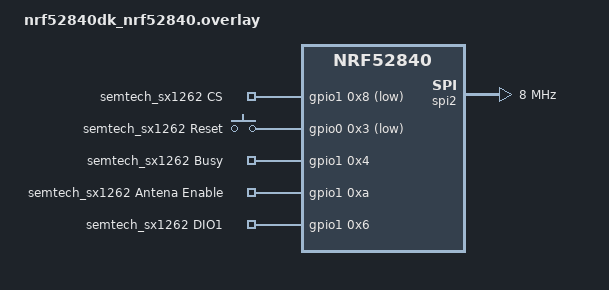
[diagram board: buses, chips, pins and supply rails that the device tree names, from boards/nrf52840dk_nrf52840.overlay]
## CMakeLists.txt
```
#
# Copyright (c) 2023 Nordic Semiconductor ASA
#
# SPDX-License-Identifier: LicenseRef-Nordic-5-Clause
#

cmake_minimum_required(VERSION 3.20.0)

include(../common/bootloader_version.cmake)

set(hci_rpmsg_KCONFIG_ROOT ${CMAKE_CURRENT_SOURCE_DIR}/child_image/hci_rpmsg/Kconfig.root)
set(mcuboot_KCONFIG_ROOT ${CMAKE_CURRENT_SOURCE_DIR}/child_image/mcuboot/Kconfig.root)

if(CONF_FILE)
    get_filename_component(CONFIG_FILE_NAME ${CONF_FILE} NAME)
endif()

if("${CONFIG_FILE_NAME}" STREQUAL "prj_no_dfu.conf")
    set(PM_STATIC_YML_FILE ${CMAKE_CURRENT_SOURCE_DIR}/configuration/pm_static_no_dfu.yml)
else()
    set(PM_STATIC_YML_FILE ${CMAKE_CURRENT_SOURCE_DIR}/configuration/${BOARD}/pm_static_dfu.yml)
endif()

find_package(Zephyr REQUIRED HINTS $ENV{ZEPHYR_BASE})
project(sidewalk_template)

target_include_directories(app PRIVATE 
    include
    ../common/include
)
target_sources(app PRIVATE
    src/main.c
    src/sidewalk.c
)
```

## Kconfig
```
#
# Copyright (c) 2022 Nordic Semiconductor ASA
#
# SPDX-License-Identifier: LicenseRef-Nordic-5-Clause
#

mainmenu "Sidewalk nRF Connect Application"

choice TEMPLATE_APP
	prompt "Select template application to run"
    default TEMPLATE_APP_HELLO
config TEMPLATE_APP_HELLO
    bool "Sidewalk hello world application"
config TEMPLATE_APP_SENSOR_MONITORING
    bool "Demo sensor monitoring application"
    imply SIDEWALK_DEMO_PARSER
    imply SENSOR
	imply TEMP_NRF5
endchoice #TEMPLATE_APP

if TEMPLATE_APP_HELLO

config TEMPLATE_APP_ECHO_MSGS
    bool "Eable message echo feature"
    default y
    help
      Echo received messages back to Sidewlak cloud.
      Works with GET and SET messages types.

endif #TEMPLATE_APP_HELLO

if TEMPLATE_APP_SENSOR_MONITORING

rsource "Kconfig.sensor_monitoring"

endif #TEMPLATE_APP_SENSOR_MONITORING

config TEMPLATE_APP_CLI
    bool "Enable Sidewalk CLI (DUT)"
    imply SHELL
    help
      Enables Sidewalk command line interface.
      The interface commands are compatilbe with former dut sample.

config SIDEWALK_AUTO_START
    default y
    bool "Enable automatic Sidewalk initlization and start"

config SIDEWALK_AUTO_CONN_REQ
    default y
    bool "Enable automatic connection request before message send"

config SIDEWALK_PERSISTENT_LINK_MASK
	select EXPERIMENTAL
    bool "Enable persitent link mask"
    help
      The Sidewalk link mask persists after a device reset
      but defaults after a factory reset.
      This could affect the flash lifespan.

config TEMPLATE_APP_EVENT_HEAP_SIZE
    int "Heap for Sidewalk event contexts"
    default 2048

rsource "Kconfig.defconfig"

source "Kconfig.zephyr"
```

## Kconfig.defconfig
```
#
# Copyright (c) 2022 Nordic Semiconductor ASA
#
# SPDX-License-Identifier: LicenseRef-Nordic-5-Clause
#

# Bluetooth
config BT_REMOTE_VERSION
	default y

config BT_BUF_ACL_TX_SIZE
	default 251
	default 502 if SIDEWALK_DFU_BLE_FAST

config BT_BUF_ACL_TX_COUNT
	default 3

config BT_BUF_ACL_RX_SIZE
	default 251
	default 502 if SIDEWALK_DFU_BLE_FAST

config BT_BUF_ACL_RX_COUNT
	default 6

config BT_L2CAP_TX_MTU
	default 247
	default 498 if SIDEWALK_DFU_BLE_FAST

config BT_CTLR_DATA_LENGTH_MAX
	default 247
	default 251 if SIDEWALK_DFU_BLE_FAST

config BT_PERIPHERAL_PREF_MIN_INT
	default 16

config BT_PERIPHERAL_PREF_MAX_INT
	default 60

config BT_PERIPHERAL_PREF_LATENCY
	default 0

config BT_PERIPHERAL_PREF_TIMEOUT
	default 400

# NVM
config NVS_LOOKUP_CACHE
	default y

config NVS_LOOKUP_CACHE_SIZE
	default 1024

# Stack and Heap
config SYSTEM_WORKQUEUE_STACK_SIZE
	default 4096

config LOG_PROCESS_THREAD_STARTUP_DELAY_MS
	default 50 if SHELL

config SHELL_STACK_SIZE
	default 8192 if TEMPLATE_APP_CLI

config HEAP_MEM_POOL_SIZE
	default 8192 if SIDEWALK_ON_DEV_CERT
	default 1024

config SPI_NRFX_RAM_BUFFER_SIZE
	default 0

# CLI
if TEMPLATE_APP_CLI

config SHELL_CMD_BUFF_SIZE
	default 1024

config SHELL_BACKEND_SERIAL_TX_RING_BUFFER_SIZE
	default 128

config SHELL_BACKEND_SERIAL_RX_RING_BUFFER_SIZE
	default 1024

endif # TEMPLATE_APP_CLI

# Others
config SPIN_VALIDATE
    default n

config PARTITION_MANAGER_ENABLED
	default y
```

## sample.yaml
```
sample:
  name: Sidewalk template sample
  description: Sample implementing Amazon Sidewalk End Device
tests:
  sample.sidewalk.template:
    build_only: true
    platform_allow: nrf52840dk_nrf52840 nrf5340dk_nrf5340_cpuapp
    extra_args: CONFIG_SIDEWALK_PERSISTENT_LINK_MASK=y
    integration_platforms:
      - nrf52840dk_nrf52840
      - nrf5340dk_nrf5340_cpuapp
    tags: Sidewalk

  sample.sidewalk.template.release:
    build_only: true
    platform_allow: nrf52840dk_nrf52840 nrf5340dk_nrf5340_cpuapp
    extra_args:
      CONF_FILE=prj_release.conf
      CONFIG_SIDEWALK_PERSISTENT_LINK_MASK=y
    integration_platforms:
      - nrf52840dk_nrf52840
      - nrf5340dk_nrf5340_cpuapp
    tags: Sidewalk

  sample.sidewalk.template.no_dfu:
    build_only: true
    platform_allow: nrf52840dk_nrf52840 nrf5340dk_nrf5340_cpuapp
    extra_args:
      CONF_FILE=prj_no_dfu.conf
      CONFIG_SIDEWALK_PERSISTENT_LINK_MASK=y
    integration_platforms:
      - nrf52840dk_nrf52840
      - nrf5340dk_nrf5340_cpuapp
    tags: Sidewalk

  sample.sidewalk.template.ble_only:
    build_only: true
    platform_allow: nrf52840dk_nrf52840 nrf5340dk_nrf5340_cpuapp
    extra_args: CONFIG_SIDEWALK_SUBGHZ_SUPPORT=n
    integration_platforms:
      - nrf52840dk_nrf52840
      - nrf5340dk_nrf5340_cpuapp
    tags: Sidewalk BLE

  sample.sidewalk.template.ble_only.release:
    build_only: true
    platform_allow: nrf52840dk_nrf52840 nrf5340dk_nrf5340_cpuapp
    extra_args:
      CONF_FILE=prj_release.conf
      CONFIG_SIDEWALK_SUBGHZ_SUPPORT=n
    integration_platforms:
      - nrf52840dk_nrf52840
      - nrf5340dk_nrf5340_cpuapp
    tags: Sidewalk BLE

  sample.sidewalk.demo:
    build_only: true
    platform_allow: nrf52840dk_nrf52840 nrf5340dk_nrf5340_cpuapp
    extra_args:
      CONFIG_TEMPLATE_APP_SENSOR_MONITORING=y
      CONFIG_SIDEWALK_PERSISTENT_LINK_MASK=y
    integration_platforms:
      - nrf52840dk_nrf52840
      - nrf5340dk_nrf5340_cpuapp
    tags: Sidewalk BLE

  sample.sidewalk.demo.ble_only:
    build_only: true
    platform_allow: nrf52840dk_nrf52840 nrf5340dk_nrf5340_cpuapp thingy53_nrf5340_cpuapp
    extra_args:
      CONFIG_TEMPLATE_APP_SENSOR_MONITORING=y
      CONFIG_SIDEWALK_SUBGHZ_SUPPORT=n
    integration_platforms:
      - nrf52840dk_nrf52840
      - nrf5340dk_nrf5340_cpuapp
    tags: Sidewalk BLE

  sidewalk.sid_dut:
    build_only: true
    platform_allow: nrf52840dk_nrf52840 nrf5340dk_nrf5340_cpuapp
    extra_args:
        OVERLAY_CONFIG="overlay-dut.conf"
    integration_platforms:
      - nrf52840dk_nrf52840
      - nrf5340dk_nrf5340_cpuapp
    tags: Sidewalk
```

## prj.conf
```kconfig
#
# Copyright (c) 2023 Nordic Semiconductor ASA
#
# SPDX-License-Identifier: LicenseRef-Nordic-5-Clause
#

# Sidewalk
CONFIG_SIDEWALK=y
CONFIG_SMF=y
CONFIG_SMF_ANCESTOR_SUPPORT=y

# Log
CONFIG_LOG=y
CONFIG_LOG_PRINTK=y
CONFIG_LOG_BUFFER_SIZE=2048
CONFIG_NVS_LOG_LEVEL_WRN=y

# Bluetooth
CONFIG_BT_DEVICE_NAME="Nordic"

# Debug
CONFIG_RESET_ON_FATAL_ERROR=n
```

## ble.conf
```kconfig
#
# Copyright (c) 2022 Nordic Semiconductor ASA
#
# SPDX-License-Identifier: LicenseRef-Nordic-4-Clause
#

CONFIG_SIDEWALK_LINK_MASK_BLE=y
CONFIG_SIDEWALK_GPIO=n
CONFIG_SIDEWALK_SPI_BUS=n
CONFIG_SIDEWALK_TEMPERATURE=n
```

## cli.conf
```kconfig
CONFIG_SIDEWALK_CLI=y
# CONFIG_SHELL_STACK_SIZE=8192
```

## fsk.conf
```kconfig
#
# Copyright (c) 2022 Nordic Semiconductor ASA
#
# SPDX-License-Identifier: LicenseRef-Nordic-4-Clause
#

CONFIG_SIDEWALK_LINK_MASK_FSK=y

CONFIG_HW_CC3XX=y
CONFIG_PSA_CRYPTO_DRIVER_CC3XX=y
CONFIG_PSA_CRYPTO_DRIVER_OBERON=n

CONFIG_SPIN_VALIDATE=n
```

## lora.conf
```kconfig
#
# Copyright (c) 2022 Nordic Semiconductor ASA
#
# SPDX-License-Identifier: LicenseRef-Nordic-4-Clause
#

CONFIG_SIDEWALK_LINK_MASK_LORA=y
CONFIG_SIDEWALK_GPIO=y
CONFIG_SIDEWALK_SPI_BUS=y
CONFIG_SIDEWALK_TEMPERATURE=y
```

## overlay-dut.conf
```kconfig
#
# Copyright (c) 2023 Nordic Semiconductor ASA
#
# SPDX-License-Identifier: LicenseRef-Nordic-5-Clause
#

CONFIG_TEMPLATE_APP_CLI=y
CONFIG_SIDEWALK_ON_DEV_CERT=y

CONFIG_SIDEWALK_BLE_ADAPTER_LOG_LEVEL_DBG=y

CONFIG_SIDEWALK_AUTO_START=n
CONFIG_SIDEWALK_AUTO_CONN_REQ=n
CONFIG_TEMPLATE_APP_ECHO_MSGS=n
```

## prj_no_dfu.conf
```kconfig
#
# Copyright (c) 2023 Nordic Semiconductor ASA
#
# SPDX-License-Identifier: LicenseRef-Nordic-5-Clause
#

# Sidewalk
CONFIG_SIDEWALK=y
CONFIG_SIDEWALK_DFU=n
CONFIG_SMF=y
CONFIG_SMF_ANCESTOR_SUPPORT=y

# Log
CONFIG_LOG=y
CONFIG_LOG_PRINTK=y
CONFIG_LOG_BUFFER_SIZE=2048
CONFIG_NVS_LOG_LEVEL_WRN=y

# Bluetooth
CONFIG_BT_DEVICE_NAME="Nordic"

# Use HW crypto
CONFIG_HW_CC3XX=y
CONFIG_PSA_CRYPTO_DRIVER_CC3XX=y
CONFIG_MBEDTLS_HEAP_SIZE=1024

CONFIG_NVS_LOOKUP_CACHE=y
CONFIG_NVS_LOOKUP_CACHE_SIZE=1024

CONFIG_SPIN_VALIDATE=n

# Debug
CONFIG_RESET_ON_FATAL_ERROR=n
```

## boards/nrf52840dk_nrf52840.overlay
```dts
/*
 * Copyright (c) 2023 Nordic Semiconductor ASA
 *
 * SPDX-License-Identifier: LicenseRef-Nordic-5-Clause
 */

&spi3 {
	status = "disabled";
};

sid_semtech: &spi2 {
	compatible = "nordic,nrf-spim";
	status = "okay";
	pinctrl-0 = <&spi2_default>;
	pinctrl-1 = <&spi2_sleep>;
	pinctrl-names = "default", "sleep";
	clock-frequency = <DT_FREQ_M(8)>;
};

/{
	semtech_sx1262_gpios{
		compatible = "gpio-keys";
		semtech_sx1262_cs: cs {
			gpios = <&gpio1 0x8 GPIO_ACTIVE_LOW>;
			label = "semtech_sx1262 CS";
		};
		semtech_sx1262_reset_gpios: reset {
			gpios = <&gpio0 0x3 GPIO_ACTIVE_LOW>;
			label = "semtech_sx1262 Reset";
		};
		semtech_sx1262_busy_gpios: busy {
			gpios = <&gpio1 0x4 GPIO_ACTIVE_HIGH>;
			label = "semtech_sx1262 Busy";
		};
		semtech_sx1262_antenna_enable_gpios: antena_enable {
			gpios = <&gpio1 0xa GPIO_ACTIVE_HIGH>;
			label = "semtech_sx1262 Antena Enable";
		};
		semtech_sx1262_dio1_gpios: dio1 {
			gpios = <&gpio1 0x6 GPIO_ACTIVE_HIGH>;
			label = "semtech_sx1262 DIO1";
		};
	};

	chosen {
		nordic,pm-ext-flash = &mx25r64;
	};
};

&spi2_default {
	group1 {
		psels = <NRF_PSEL(SPIM_SCK, 1, 15)>,
		        <NRF_PSEL(SPIM_MISO, 1, 14)>,
		        <NRF_PSEL(SPIM_MOSI, 1, 13)>;
	};
};

&spi2_sleep {
	group1 {
		psels = <NRF_PSEL(SPIM_SCK, 1, 15)>,
		        <NRF_PSEL(SPIM_MISO, 1, 14)>,
		        <NRF_PSEL(SPIM_MOSI, 1, 13)>;
		low-power-enable;
	};
};
```

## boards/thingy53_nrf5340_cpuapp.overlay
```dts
/*
 * Copyright (c) 2023 Nordic Semiconductor ASA
 *
 * SPDX-License-Identifier: LicenseRef-Nordic-5-Clause
 */

#include <zephyr/dt-bindings/ipc_service/static_vrings.h>

&ipc0 {
	zephyr,priority = <0 PRIO_COOP>;
};

&i2c1 {
	status = "okay";

	bme688@76 {
		compatible = "bosch,bme680";
		reg = <0x76>;
		status = "okay";
	};
};

/{
	chosen {
		nordic,pm-ext-flash = &mx25r64;
	};
};
```

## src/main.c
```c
/*
 * Copyright (c) 2023 Nordic Semiconductor ASA
 *
 * SPDX-License-Identifier: LicenseRef-Nordic-5-Clause
 */

#include <sidewalk.h>
#include <app_ble_config.h>
#if !defined(CONFIG_APP_BLE_ONLY)
#include <app_subGHz_config.h>
#endif
#include <sid_hal_reset_ifc.h>
#include <sidewalk_version.h>
#if defined(CONFIG_GPIO)
#include <state_notifier_gpio_backend.h>
#endif
#if defined(CONFIG_LOG)
#include <state_notifier_log_backend.h>
#endif
#if defined(CONFIG_APP_PERSISTENT_LINK_MASK)
#include <settings_utils.h>
#endif
#include <buttons.h>
#include <zephyr/kernel.h>
#include <zephyr/smf.h>
#include <zephyr/logging/log.h>

LOG_MODULE_REGISTER(app, CONFIG_SIDEWALK_LOG_LEVEL);

static uint8_t echo_payload[255];
static uint32_t persistent_link_mask;

static void on_sidewalk_event(bool in_isr, void *context)
{
	int err = sidewalk_event_send(SID_EVENT_SIDEWALK);
	if (err) {
		LOG_ERR("send event err %d", err);
	};
}

static void on_sidewalk_msg_received(const struct sid_msg_desc *msg_desc, const struct sid_msg *msg,
				     void *context)
{
	LOG_DBG("received message(type: %d, link_mode: %d, id: %u size %u)", (int)msg_desc->type,
		(int)msg_desc->link_mode, msg_desc->id, msg->size);
	LOG_HEXDUMP_INF((uint8_t *)msg->data, msg->size, "Message data: ");

	if (msg_desc->type == SID_MSG_TYPE_GET || msg_desc->type == SID_MSG_TYPE_SET) {
		memcpy(echo_payload, msg->data, msg->size);
		sidewalk_msg_t echo_msg = {
			.msg = {
				.data = echo_payload,
				.size = msg->size,
			},
			.desc = {
				.type = (msg_desc->type == SID_MSG_TYPE_GET)?SID_MSG_TYPE_RESPONSE : SID_MSG_TYPE_NOTIFY,
				.id = (msg_desc->type == SID_MSG_TYPE_GET)? msg_desc->id: msg_desc->id + 1,
				.link_type = SID_LINK_TYPE_ANY,
				.link_mode = SID_LINK_MODE_CLOUD,
			},
		};

		int err = sidewalk_msg_set(&echo_msg);
		if (err) {
			LOG_ERR("msg set err %d", err);
			return;
		};
		err = sidewalk_event_send(SID_EVENT_SEND_MSG);
		if (err) {
			LOG_ERR("send event err %d", err);
		};
	};
}

static void on_sidewalk_msg_sent(const struct sid_msg_desc *msg_desc, void *context)
{
	LOG_INF("sent message(type: %d, id: %u)", (int)msg_desc->type, msg_desc->id);
}

static void on_sidewalk_send_error(sid_error_t error, const struct sid_msg_desc *msg_desc,
				   void *context)
{
	LOG_ERR("failed to send message(type: %d, id: %u), err:%d", (int)msg_desc->type,
		msg_desc->id, (int)error);
}

static void on_sidewalk_factory_reset(void *context)
{
	ARG_UNUSED(context);

	LOG_INF("factory reset notification received from sid api");
	if (sid_hal_reset(SID_HAL_RESET_NORMAL)) {
		LOG_WRN("Reboot type not supported");
	}
}

static void on_sidewalk_status_changed(const struct sid_status *status, void *context)
{
	int err = 0;
	uint32_t new_link_mask = status->detail.link_status_mask;

	switch (status->state) {
	case SID_STATE_READY:
	case SID_STATE_SECURE_CHANNEL_READY:
		err = sidewalk_event_send(SID_EVENT_STATE_READY);
		application_state_connected(&global_state_notifier, true);
		LOG_INF("status changed: ready");
		break;
	case SID_STATE_NOT_READY:
		err = sidewalk_event_send(SID_EVENT_STATE_NOT_READY);
		application_state_connected(&global_state_notifier, false);
		LOG_INF("status changed: not ready");
		break;
	case SID_STATE_ERROR:
		err = sidewalk_event_send(SID_EVENT_STATE_ERROR);
		application_state_error(&global_state_notifier, true);
		LOG_INF("status not changed: error");
		break;
	}

	if (err) {
		LOG_ERR("send event err %d", err);
	}

	application_state_registered(&global_state_notifier,
				     status->detail.registration_status == SID_STATUS_REGISTERED);
	application_state_time_sync(&global_state_notifier,
				    status->detail.time_sync_status == SID_STATUS_TIME_SYNCED);

#if defined(CONFIG_APP_PERSISTENT_LINK_MASK)
	if (new_link_mask && persistent_link_mask != new_link_mask) {
		err = settings_utils_link_mask_set(new_link_mask);
		if (err) {
			LOG_ERR("New link mask set err %d", err);
		} else {
			persistent_link_mask = new_link_mask;
			LOG_DBG("New link mask set 0x%x", persistent_link_mask);
		}
	}
#endif

	LOG_INF("Device %sregistered, Time Sync %s, Link status: {BLE: %s, FSK: %s, LoRa: %s}",
		(SID_STATUS_REGISTERED == status->detail.registration_status) ? "Is " : "Un",
		(SID_STATUS_TIME_SYNCED == status->detail.time_sync_status) ? "Success" : "Fail",
		(new_link_mask & SID_LINK_TYPE_1) ? "Up" : "Down",
		(new_link_mask & SID_LINK_TYPE_2) ? "Up" : "Down",
		(new_link_mask & SID_LINK_TYPE_3) ? "Up" : "Down");

	for (int i = 0; i < SID_LINK_TYPE_MAX_IDX; i++) {
		enum sid_link_mode mode =
			(enum sid_link_mode)status->detail.supported_link_modes[i];

		if (mode) {
			LOG_INF("Link mode on %s = {Cloud: %s, Mobile: %s}",
				(SID_LINK_TYPE_1_IDX == i) ? "BLE" :
				(SID_LINK_TYPE_2_IDX == i) ? "FSK" :
				(SID_LINK_TYPE_3_IDX == i) ? "LoRa" :
							     "unknow",
				(mode & SID_LINK_MODE_CLOUD) ? "True" : "False",
				(mode & SID_LINK_MODE_MOBILE) ? "True" : "False");
		}
	}
}

static void app_button_handler(uint32_t event)
{
	switch (event) {
	case SID_EVENT_SEND_MSG:
		static char payload[] = "hello";
		sidewalk_msg_t hello_msg = {
			.msg = {
				.data = payload,
				.size = sizeof(payload),
			},
			.desc = {
				.type = SID_MSG_TYPE_NOTIFY,
				.link_type = SID_LINK_TYPE_ANY,
				.link_mode = SID_LINK_MODE_CLOUD,
			},
		};
		int err = sidewalk_msg_set(&hello_msg);
		if (err) {
			LOG_ERR("msg set err %d", err);
			return;
		};
		break;
	case SID_EVENT_FACTORY_RESET:
#if defined(CONFIG_APP_PERSISTENT_LINK_MASK)
		(void)settings_utils_link_mask_set(0);
#endif
		break;
	default:
		break;
	}

	sidewalk_event_send((sidewalk_event_t)event);
}

static int app_buttons_init(void)
{
	button_set_action_short_press(DK_BTN1, app_button_handler, SID_EVENT_SEND_MSG);
	button_set_action_long_press(DK_BTN1, app_button_handler, SID_EVENT_NORDIC_DFU);
	button_set_action_short_press(DK_BTN2, app_button_handler, SID_EVENT_CONNECT);
	button_set_action_long_press(DK_BTN2, app_button_handler, SID_EVENT_FACTORY_RESET);
	button_set_action(DK_BTN3, app_button_handler, SID_EVENT_LINK_SWITCH);

	return buttons_init();
}

int main(void)
{
	PRINT_SIDEWALK_VERSION();

	if (app_buttons_init()) {
		LOG_ERR("Cannot init buttons");
	}

#if defined(CONFIG_GPIO)
	state_watch_init_gpio(&global_state_notifier);
#endif
#if defined(CONFIG_LOG)
	state_watch_init_log(&global_state_notifier);
#endif
	application_state_working(&global_state_notifier, true);

#if defined(CONFIG_APP_PERSISTENT_LINK_MASK)
	int err = settings_utils_link_mask_get(&persistent_link_mask);
	if (err) {
		LOG_ERR("link mask get err %d", err);
		persistent_link_mask = 0;
	}
#endif

	static sidewalk_ctx_t sid_ctx = { 0 };

	static struct sid_event_callbacks event_callbacks = {
		.context = &sid_ctx,
		.on_event = on_sidewalk_event,
		.on_msg_received = on_sidewalk_msg_received,
		.on_msg_sent = on_sidewalk_msg_sent,
		.on_send_error = on_sidewalk_send_error,
		.on_status_changed = on_sidewalk_status_changed,
		.on_factory_reset = on_sidewalk_factory_reset,
	};

	sid_ctx.config = (struct sid_config)
	{
		.link_mask = persistent_link_mask, .callbacks = &event_callbacks,
		.time_sync_periodicity_seconds = 7200, .link_config = app_get_ble_config(),
#if !defined(CONFIG_APP_BLE_ONLY)
		.sub_ghz_link_config = app_get_sub_ghz_config(),
#else
		.sub_ghz_link_config = NULL,
#endif /* CONFIG_APP_BLE_ONLY */
	};

	sidewalk_start(&sid_ctx);

	return 0;
}
```

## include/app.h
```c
/*
 * Copyright (c) 2023 Nordic Semiconductor ASA
 *
 * SPDX-License-Identifier: LicenseRef-Nordic-5-Clause
 */

/**
 * @brief Start template application
 *
 * @note This function should never return.
 */
void app_start(void);
```

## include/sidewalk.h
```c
/*
 * Copyright (c) 2023 Nordic Semiconductor ASA
 *
 * SPDX-License-Identifier: LicenseRef-Nordic-5-Clause
 */
#ifndef SIDEWALK_APP_H
#define SIDEWALK_APP_H

#include <sid_api.h>

typedef enum {
	SID_EVENT_SIDEWALK,
	SID_EVENT_FACTORY_RESET,
	SID_EVENT_NEW_STATUS,
	SID_EVENT_SEND_MSG,
	SID_EVENT_CONNECT,
	SID_EVENT_LINK_SWITCH,
	SID_EVENT_NORDIC_DFU,
	SID_EVENT_LAST,
} sidewalk_event_t;

typedef struct {
	sidewalk_event_t id;
	void *ctx;
} sidewalk_ctx_event_t;

typedef struct {
	struct sid_handle *handle;
	struct sid_config config;
	struct sid_status last_status;
} sidewalk_ctx_t;

typedef struct {
	struct sid_msg msg;
	struct sid_msg_desc desc;
} sidewalk_msg_t;

typedef struct {
	enum sid_option option;
	void *data;
	size_t data_len;
} sidewalk_option_t;

void sidewalk_start(sidewalk_ctx_t *context);

void *sidewalk_data_alloc(size_t data_size);

void sidewalk_data_free(void *data);

int sidewalk_event_send(sidewalk_event_t event, void *ctx);

#endif /* SIDEWALK_APP_H */
```

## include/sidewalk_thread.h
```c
/*
 * Copyright (c) 2022 Nordic Semiconductor ASA
 *
 * SPDX-License-Identifier: LicenseRef-Nordic-4-Clause
 */

#ifndef SIDEWALK_THREAD_H
#define SIDEWALK_THREAD_H
#include <sid_api.h>

enum event_type {
	EVENT_TYPE_SIDEWALK,
	EVENT_TYPE_SEND_HELLO,
	EVENT_TYPE_SET_BATTERY_LEVEL,
#if !defined(CONFIG_SIDEWALK_LINK_MASK_FSK) && !defined(CONFIG_SIDEWALK_LINK_MASK_LORA)
	EVENT_TYPE_CONNECTION_REQUEST,
#else /* !defined(CONFIG_SIDEWALK_LINK_MASK_FSK) && !defined(CONFIG_SIDEWALK_LINK_MASK_LORA) */
	EVENT_TYPE_SET_DEVICE_PROFILE,
#endif /* !defined(CONFIG_SIDEWALK_LINK_MASK_FSK) && !defined(CONFIG_SIDEWALK_LINK_MASK_LORA) */
	EVENT_TYPE_FACTORY_RESET,
};
enum app_state {
	STATE_INIT,
	STATE_SIDEWALK_READY,
	STATE_SIDEWALK_NOT_READY,
	STATE_SIDEWALK_SECURE_CONNECTION,
	STATE_PAL_INIT_ERROR,
	STATE_LIB_INIT_ERROR,
};

struct link_status {
	enum sid_registration_status link_mask;
	enum sid_link_mode supported_link_mode[SID_LINK_TYPE_MAX_IDX];
};

typedef struct app_context {
	struct sid_handle *sidewalk_handle;
	enum app_state state;
	struct link_status link_status;
	uint8_t counter;
#if !defined(CONFIG_SIDEWALK_LINK_MASK_FSK) && !defined(CONFIG_SIDEWALK_LINK_MASK_LORA)
	bool connection_request;
#endif /* !defined(CONFIG_SIDEWALK_LINK_MASK_FSK) && !defined(CONFIG_SIDEWALK_LINK_MASK_LORA) */
} app_context_t;

/**
 * @brief Function for starting sidewalk thread.
 *
 */
void sidewalk_thread_enable(void);

/**
 * @brief Add message to thread queue.
 *
 * @param event
 */
void sidewalk_thread_message_q_write(enum event_type event);

#endif /* SIDEWALK_THREAD_H */
```

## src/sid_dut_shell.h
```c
/*
 * Copyright (c) 2023 Nordic Semiconductor ASA
 *
 * SPDX-License-Identifier: LicenseRef-Nordic-5-Clause
 */

#ifndef SID_DUT_SHELL_H
#define SID_DUT_SHELL_H

#include <stdint.h>
#include <zephyr/shell/shell.h>
#include <sid_api.h>

#define CMD_SID_INIT_DESCRIPTION                                                                                                                                                                                                         \
	"<1,2,3,4,5>\n"                                                                                                                                                                                                                  \
	"initialize the sidewalk stack, 1 is SID_LINK_TYPE_1 (BLE), 2 is SID_LINK_TYPE_2 (FSK), 3 is SID_LINK_TYPE_3 (LORA) 4 is SID_LINK_TYPE_1 | SID_LINK_TYPE_3 (BLE + LORA),  5 is SID_LINK_TYPE_1 | SID_LINK_TYPE_2 (BLE + FSK).\n" \
	"This calls the sid_init() API."

#define CMD_SID_DEINIT_DESCRIPTION                                                                 \
	"\n"                                                                                       \
	"deinitialize the sidewalk stack, calls sid_deinit() API"

#define CMD_SID_START_DESCRIPTION                                                                  \
	"<link>\n"                                                                                 \
	"start the sidewalk stack, calls sid_start() API.\n"                                       \
	"link value is optional, it can take the same values as for sid init command. If link value is not present the one set with sid init will be used to call sid_start api."

#define CMD_SID_STOP_DESCRIPTION                                                                   \
	"<link>\n"                                                                                 \
	"stop the sidewalk stack, calls sid_stop() API.\n"                                         \
	"link value is optional, it can take the same values as for sid init command. If link value is not present the one set with sid init will be used to call sid_stop api."

#define CMD_SID_SEND_DESCRIPTION                                                                                                                                                                     \
	"-t <tv> -d <dv> -l <lm> -i <id> -a <ack> <retry> <ttl> -r <data>\n"                                                                                                                         \
	"send data over the SID_LINK_TYPE selected, calls the sid_put_msg()API.\n"                                                                                                                   \
	"Data field must always be placed at the end of command patametrs. If -r parameter is not preset data filed is treated as ascii. Example usage:\n"                                           \
	"    - sid send TEST\n"                                                                                                                                                                      \
	"    - sid send -t 0 -d 2 TEST\n"                                                                                                                                                            \
	"    - sid send -t 1 -d 1 -r 01AAFF02\n"                                                                                                                                                     \
	"Optional parametrs:\n"                                                                                                                                                                      \
	"- t option force specific message type to be set in message descriptor possible <tv> values:\n"                                                                                             \
	"0 - SID_MSG_TYPE_GET\n"                                                                                                                                                                     \
	"1 - SID_MSG_TYPE_SET\n"                                                                                                                                                                     \
	"2 - SID_MSG_TYPE_NOTIFY\n"                                                                                                                                                                  \
	"3 - SID_MSG_TYPE_RESPONSE\n"                                                                                                                                                                \
	"If -t option is not used message type in message descriptor will be set to SID_MSG_TYPE_NOTIFY.\n"                                                                                          \
	"If message type is set to RESPONSE type ID for outgoing message will be set with value that was previously received with GET type message. Or it can be set with sid set_rsp_id command.\n" \
	"- d specifies the destination\n"                                                                                                                                                            \
	"possible <dv> values:\n"                                                                                                                                                                    \
	"1 - SID_LINK_MODE_CLOUD\n"                                                                                                                                                                  \
	"2 - SID_LINK_MODE_MOBILE\n"                                                                                                                                                                 \
	"If -d option is not used link_mode in message descriptor will be set to SID_LINK_MODE_CLOUD.\n"                                                                                             \
	"- l link mask on which message should be sent, if not set LINK_TYPE_ANY will be used\n"                                                                                                     \
	"	<lm> link mask - for possible values see 'sid init' command\n"                                                                                                                             \
	"- i message id that needs to be used to send response. Valid only for messages of type response\n"                                                                                          \
	"	<id> response id\n"                                                                                                                                                                        \
	"- r data is interpreted hex string e.g. 010203AAFF\n"                                                                                                                                       \
	"- a configure parameters for transport ack:\n"                                                                                                                                              \
	"	<ack> - enable/disable ACK\n"                                                                                                                                                              \
	"		1 - enable ACK\n"                                                                                                                                                                         \
	"		0 - disable ACK\n"                                                                                                                                                                        \
	"	<retry> - number of retry. 0 ~ 255\n"                                                                                                                                                      \
	"	<ttl> - total seconds the stack holds the message in its queue. 0 ~ 65535"

#define CMD_SID_FACTORY_RESET_DESCRIPTION                                                          \
	"\n"                                                                                       \
	"factory reset the board, deleting all registration status. This calls the sid_set_factory_reset() API."

#define CMD_SID_GET_MTU_DESCRIPTION                                                                \
	"<1,2,3>\n"                                                                                \
	"get the MTU for the selected link type, 1 is SID_LINK_TYPE_1 (BLE), 2 is SID_LINK_TYPE_2 (FSK), 3 is SID_LINK_TYPE_3 (LORA). This calls the sid_get_mtu() API."

#define CMD_SID_SET_OPTION_DESCRIPTION                                                                                                                                      \
	"<option> <val1>...<valN>\n"                                                                                                                                        \
	"Set link options. This calls the sid_option() API. Possible inputs for  \"<option> <val1>...<valN>\" are as follows:\n"                                            \
	"\"-b <batlevel>\" - for setting battery level for SID_LINK_TYPE_1. Not supported for other link types.\n"                                                          \
	"	<batlevel> - (uint8) battery level.\n"                                                                                                                            \
	"\"-lp_set <val1> .. <valN>\" -  sets SID_LINK_TYPE_2 and SID_LINK_TYPE_3 (900 MHz) link profile and related parameters.\n"                                         \
	"\"-lp_set 1\" - for SID_LINK2_PROFILE_1\".\n"                                                                                                                      \
	"\"-lp_set 2 <rx_int>\" - for SID_LINK2_PROFILE_2 with optional rx_int parameter\".\n"                                                                              \
	"	<rx_int> Specifies DL interval between rx opportunities in units of ms. The value must be a multiple of 63ms. When ommitted the default value of 63ms is used.\n" \
	"\"-lp_set 0x80 <rxwc>\" - for SID_LINK3_PROFILE_A, where <rxwc> is the rx_window count parameter.\n"                                                               \
	"\"-lp_set 0x81 <rxwc>\" - for SID_LINK3_PROFILE_B, where <rxwc> is the rx_window count parameter.\n"                                                               \
	"\"-lp_set 0x83 <rxwc>\" - for SID_LINK3_PROFILE_D, where <rxwc> is the rx_window count parameter.\n"                                                               \
	"	<rxwc> - (uint8) rx window count. 0 represents infinite windows.\n"                                                                                               \
	"\"-lp_get_l2\" - Gets link profile and associated parameters for SID_LINK_TYPE_2. Ex: \"app: CMD: ERR: 0 Link_profile ID: 1 Wndw_cnt: 0\".\n"                      \
	"\"-lp_get_l3\" - Gets link profile and associated parameters for SID_LINK_TYPE_3. Ex: \"app: CMD: ERR: 0 Link_profile ID: 128 Wndw_cnt: 5\"."                      \
	"\"-d <0,1>\" - filter duplicate message.\n"                                                                                                                        \
	"   0 - filter duplicate message.\n"                                                                                                                                \
	"   1 - don't filter duplicate message and notify to user."                                                                                                         \
	"\"-gd\" - Get filter duplicates configuration. Ex: \"app: CMD: ERR: 0 Filter Duplicates: 0\""

#define CMD_SID_LAST_STATUS_DESCRIPTION                                                            \
	"\n"                                                                                       \
	"get last status of Sidewalk library. Result is printed in the same format as EVENT SID STATUS. This call the sid_get_status() API."

#define CMD_SID_CONN_REQUEST_DESCRIPTION                                                           \
	"<0,1>\n"                                                                                  \
	"set the connection request bit in BLE beacon,\n"                                          \
	"1 - set connection request bit\n"                                                         \
	"0 - clear connection request bit\n"                                                       \
	"This calls the sid_ble_bcn_connection_request() API.\n"

#define CMD_SID_GET_TIME_DESCRIPTION                                                               \
	"<0-2>\n"                                                                                  \
	"get time from Sidewalk library,\n"                                                        \
	"0 - GPS time\n"                                                                           \
	"1 - UTC time (not supported by sid api)\n"                                                \
	"2 - Local time (not supported by sid api)\n"                                              \
	"This calls the sid_get_time() API."

#define CMD_SID_SET_DST_ID_DESCRIPTION                                                             \
	"<id>\n"                                                                                   \
	"set message destination ID. This calls the sid_set_msg_dest_id() API."

#define CMD_SID_SET_SEND_LINK_DESCRIPTION                                                                                             \
	"<link type>\n"                                                                                                               \
	"set the link type that the message should be sent over. This is optional and only applies when multiple links are enabled\n" \
	"0 - SID_LINK_TYPE_ANY\n"                                                                                                     \
	"1 - SID_LINK_TYPE_1 (BLE)\n"                                                                                                 \
	"2 - SID_LINK_TYPE_2 (FSK)\n"                                                                                                 \
	"3 - SID_LINK_TYPE_3 (LORA)"

#define CMD_SID_SET_RSP_ID_DESCRIPTION                                                             \
	"<value>\n"                                                                                \
	"allow the set ID for RESPONSE type message, this can be use before calling sid send command with message type set as RESPONSE."

#define CMD_SID_SDK_VERSION_DESCRIPTION "Print sid sdk version"

#define CMD_SID_SDK_CONFIG_DESCRIPTION "Print sid sdk config"

#define CMD_SID_INIT_ARG_REQUIRED 2
#define CMD_SID_INIT_ARG_OPTIONAL 0
#define CMD_SID_DEINIT_ARG_REQUIRED 1
#define CMD_SID_DEINIT_ARG_OPTIONAL 0
#define CMD_SID_START_ARG_REQUIRED 1
#define CMD_SID_START_ARG_OPTIONAL 1
#define CMD_SID_STOP_ARG_REQUIRED 1
#define CMD_SID_STOP_ARG_OPTIONAL 1
#define CMD_SID_SEND_ARG_REQUIRED 2
#define CMD_SID_SEND_ARG_OPTIONAL 13
#define CMD_SID_FACTORY_RESET_ARG_REQUIRED 1
#define CMD_SID_FACTORY_RESET_ARG_OPTIONAL 0
#define CMD_SID_GET_MTU_ARG_REQUIRED 2
#define CMD_SID_GET_MTU_ARG_OPTIONAL 0
#define CMD_SID_SET_OPTION_ARG_REQUIRED 2
#define CMD_SID_SET_OPTION_ARG_OPTIONAL 2
#define CMD_SID_LAST_STATUS_ARG_REQUIRED 1
#define CMD_SID_LAST_STATUS_ARG_OPTIONAL 0
#define CMD_SID_CONN_REQUEST_ARG_REQUIRED 2
#define CMD_SID_CONN_REQUEST_ARG_OPTIONAL 0
#define CMD_SID_GET_TIME_ARG_REQUIRED 2
#define CMD_SID_GET_TIME_ARG_OPTIONAL 0
#define CMD_SID_SET_DST_ID_ARG_REQUIRED 2
#define CMD_SID_SET_DST_ID_ARG_OPTIONAL 0
#define CMD_SID_SET_SEND_LINK_ARG_REQUIRED 2
#define CMD_SID_SET_SEND_LINK_ARG_OPTIONAL 0
#define CMD_SID_SET_RSP_ID_ARG_REQUIRED 2
#define CMD_SID_SET_RSP_ID_ARG_OPTIONAL 0
#define CMD_SID_SDK_VERSION_DESCRIPTION_ARG_REQUIRED 1
#define CMD_SID_SDK_VERSION_DESCRIPTION_ARG_OPTIONAL 0
#define CMD_SID_SDK_CONFIG_DESCRIPTION_ARG_REQUIRED 1
#define CMD_SID_SDK_CONFIG_DESCRIPTION_ARG_OPTIONAL 0

int cmd_sid_init(const struct shell *shell, int32_t argc, const char **argv);
int cmd_sid_deinit(const struct shell *shell, int32_t argc, const char **argv);
int cmd_sid_start(const struct shell *shell, int32_t argc, const char **argv);
int cmd_sid_stop(const struct shell *shell, int32_t argc, const char **argv);
int cmd_sid_send(const struct shell *shell, int32_t argc, const char **argv);
int cmd_sid_factory_reset(const struct shell *shell, int32_t argc, const char **argv);
int cmd_sid_get_mtu(const struct shell *shell, int32_t argc, const char **argv);

int cmd_sid_option_battery(const struct shell *shell, int32_t argc, const char **argv);
int cmd_sid_option_lp_set(const struct shell *shell, int32_t argc, const char **argv);
int cmd_sid_option_lp_get_l2(const struct shell *shell, int32_t argc, const char **argv);
int cmd_sid_option_lp_get_l3(const struct shell *shell, int32_t argc, const char **argv);
int cmd_sid_option_d(const struct shell *shell, int32_t argc, const char **argv);
int cmd_sid_option_gd(const struct shell *shell, int32_t argc, const char **argv);

int cmd_sid_last_status(const struct shell *shell, int32_t argc, const char **argv);
int cmd_sid_conn_request(const struct shell *shell, int32_t argc, const char **argv);
int cmd_sid_get_time(const struct shell *shell, int32_t argc, const char **argv);
int cmd_sid_set_dst_id(const struct shell *shell, int32_t argc, const char **argv);
int cmd_sid_set_send_link(const struct shell *shell, int32_t argc, const char **argv);
int cmd_sid_set_rsp_id(const struct shell *shell, int32_t argc, const char **argv);
int cmd_sid_sdk_version(const struct shell *shell, int32_t argc, const char **argv);
int cmd_sid_sdk_config(const struct shell *shell, int32_t argc, const char **argv);

struct cli_config {
	struct sid_config *sid_cfg;
	struct sid_handle **sidewalk_handle;
	enum sid_link_type send_link_type;
	uint16_t rsp_msg_id;
};

void initialize_sidewalk_shell(struct sid_config *sid_cfg, struct sid_handle **sidewalk_handle);

#endif /* SID_DUT_SHELL_H */
```

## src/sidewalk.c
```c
/*
 * Copyright (c) 2023 Nordic Semiconductor ASA
 *
 * SPDX-License-Identifier: LicenseRef-Nordic-5-Clause
 */

#include <app_mfg_config.h>
#include <sid_pal_common_ifc.h>
#include <sidewalk.h>
#include <nordic_dfu.h>
#include <zephyr/kernel.h>
#include <zephyr/smf.h>
#include <zephyr/sys/atomic.h>
#include <zephyr/logging/log.h>
#if !defined(CONFIG_APP_BLE_ONLY)
#include <app_subGHz_config.h>
#endif

#ifdef CONFIG_SIDEWALK_LINK_MASK_BLE
#define DEFAULT_LM (uint32_t)(SID_LINK_TYPE_1)
#elif CONFIG_SIDEWALK_LINK_MASK_FSK
#define DEFAULT_LM (uint32_t)(SID_LINK_TYPE_2)
#elif CONFIG_SIDEWALK_LINK_MASK_LORA
#define DEFAULT_LM (uint32_t)(SID_LINK_TYPE_1 | SID_LINK_TYPE_3)
#else
#define DEFAULT_LM (uint32_t)(SID_LINK_TYPE_1)
#endif

LOG_MODULE_REGISTER(sidewalk_app, CONFIG_SIDEWALK_LOG_LEVEL);

static struct k_thread sid_thread;
K_THREAD_STACK_DEFINE(sid_thread_stack, CONFIG_SIDEWALK_THREAD_STACK_SIZE);

typedef struct sm_s {
	struct smf_ctx ctx;
	struct k_msgq msgq;
	sidewalk_event_t event;
	sidewalk_ctx_t *sid;
} sm_t;

enum state {
	STATE_SIDEWALK_COMMON,
	STATE_SIDEWALK_INIT,
	STATE_SIDEWALK_NOT_READY,
	STATE_SIDEWALK_READY,
	STATE_DFU,
};

static void state_common_run(void *o);
static void state_init_entry(void *o);
static void state_init_run(void *o);
static void state_ready_run(void *o);
static void state_ready_entry(void *o);
static void state_not_ready_run(void *o);
static void state_dfu_entry(void *o);
static void state_dfu_run(void *o);

static const struct smf_state sid_states[] = {
	[STATE_SIDEWALK_COMMON] = SMF_CREATE_STATE(NULL, state_common_run, NULL, NULL),
	[STATE_SIDEWALK_INIT] = SMF_CREATE_STATE(state_init_entry, state_init_run, NULL,
						 &sid_states[STATE_SIDEWALK_COMMON]),
	[STATE_SIDEWALK_READY] = SMF_CREATE_STATE(state_ready_entry, state_ready_run, NULL,
						  &sid_states[STATE_SIDEWALK_COMMON]),
	[STATE_SIDEWALK_NOT_READY] = SMF_CREATE_STATE(NULL, state_not_ready_run, NULL,
						      &sid_states[STATE_SIDEWALK_COMMON]),
	[STATE_DFU] = SMF_CREATE_STATE(state_dfu_entry, state_dfu_run, NULL, NULL),
};

static uint8_t
	__aligned(4) sid_msgq_buff[CONFIG_SIDEWALK_THREAD_QUEUE_SIZE * sizeof(sidewalk_event_t)];
static sm_t sid_sm;
static sidewalk_msg_t send_msg_buffer;
static atomic_t send_msg_buffer_busy = ATOMIC_INIT(false);
static bool send_msg_pending;

static void state_common_run(void *o)
{
	sm_t *sm = (sm_t *)o;
	sid_error_t e = SID_ERROR_NONE;

	switch (sm->event) {
	case SID_EVENT_SIDEWALK:
		e = sid_process(sm->sid->handle);
		if (e) {
			LOG_ERR("sid process err %d", (int)e);
		}
		break;
	case SID_EVENT_STATE_ERROR:
		LOG_ERR("sid state err %d", (int)sid_get_error(sm->sid->handle));
		break;
	case SID_EVENT_FACTORY_RESET:
		e = sid_set_factory_reset(sm->sid->handle);
		if (e) {
			LOG_ERR("sid process err %d", (int)e);
		}
		break;
	case SID_EVENT_LINK_SWITCH:
		static uint32_t new_link_mask = DEFAULT_LM;

		switch (sm->sid->config.link_mask) {
		case SID_LINK_TYPE_1:
			new_link_mask = SID_LINK_TYPE_2;
			break;
		case SID_LINK_TYPE_2:
			new_link_mask = SID_LINK_TYPE_1 | SID_LINK_TYPE_3;
			break;
		default:
			new_link_mask = SID_LINK_TYPE_1;
			break;
		}
		sm->sid->config.link_mask = new_link_mask;

		LOG_INF("Sidewalk link switch to %s", (SID_LINK_TYPE_3 & new_link_mask) ? "LoRa" :
						      (SID_LINK_TYPE_2 & new_link_mask) ? "FSK" :
											  "BLE");

		if (sm->sid->handle != NULL) {
			e = sid_deinit(sm->sid->handle);
			if (e) {
				LOG_ERR("sid deinit err %d", (int)e);
			}
		}

		e = sid_init(&sm->sid->config, &sm->sid->handle);
		if (e) {
			LOG_ERR("sid init err %d", (int)e);
		}

		e = sid_start(sm->sid->handle, sm->sid->config.link_mask);
		if (e) {
			LOG_ERR("sid start err %d", (int)e);
		}
		break;
	case SID_EVENT_NORDIC_DFU:
		e = sid_deinit(sm->sid->handle);
		if (e) {
			LOG_ERR("sid deinit err %d", (int)e);
		}
		smf_set_state(SMF_CTX(sm), &sid_states[STATE_DFU]);
		break;
	case SID_EVENT_STATE_READY:
	case SID_EVENT_STATE_NOT_READY:
	case SID_EVENT_SEND_MSG:
	case SID_EVENT_CONNECT:
		/* handled in child states */
		break;
	}
}

static void state_init_entry(void *o)
{
	sm_t *sm = (sm_t *)o;
	sid_error_t e = SID_ERROR_NONE;

	if (!sm->sid->config.link_mask) {
		sm->sid->config.link_mask = DEFAULT_LM;
	}

	LOG_INF("Sidewalk link switch to %s",
		(SID_LINK_TYPE_3 & sm->sid->config.link_mask) ? "LoRa" :
		(SID_LINK_TYPE_2 & sm->sid->config.link_mask) ? "FSK" :
								"BLE");

	platform_parameters_t platform_parameters = {
		.mfg_store_region.addr_start = APP_MFG_CFG_FLASH_START,
		.mfg_store_region.addr_end = APP_MFG_CFG_FLASH_END,
#if !defined(CONFIG_APP_BLE_ONLY)
		.platform_init_parameters.radio_cfg =
			(radio_sx126x_device_config_t *)get_radio_cfg(),
#endif
	};

	e = sid_platform_init(&platform_parameters);
	if (SID_ERROR_NONE != e) {
		LOG_ERR("Sidewalk Platform Init err: %d", e);
		return;
	}

	if (app_mfg_cfg_is_valid()) {
		LOG_ERR("The mfg.hex version mismatch");
		LOG_ERR("Check if the file has been generated and flashed properly");
		LOG_ERR("START ADDRESS: 0x%08x", APP_MFG_CFG_FLASH_START);
		LOG_ERR("SIZE: 0x%08x", APP_MFG_CFG_FLASH_SIZE);
		return;
	}

	e = sid_init(&sm->sid->config, &sm->sid->handle);
	if (e) {
		LOG_ERR("sid init err %d", (int)e);
	}
	e = sid_start(sm->sid->handle, sm->sid->config.link_mask);
	if (e) {
		LOG_ERR("sid start err %d", (int)e);
	}
}

static void state_init_run(void *o)
{
	sm_t *sm = (sm_t *)o;

	switch (sm->event) {
	case SID_EVENT_STATE_READY:
		smf_set_state(SMF_CTX(sm), &sid_states[STATE_SIDEWALK_READY]);
		break;
	case SID_EVENT_STATE_NOT_READY:
		smf_set_state(SMF_CTX(sm), &sid_states[STATE_SIDEWALK_NOT_READY]);
		break;
	case SID_EVENT_CONNECT:
	case SID_EVENT_SEND_MSG:
		LOG_INF("Operation not supported, Sidewalk not initialized");
		break;
	case SID_EVENT_SIDEWALK:
	case SID_EVENT_STATE_ERROR:
	case SID_EVENT_FACTORY_RESET:
	case SID_EVENT_LINK_SWITCH:
	case SID_EVENT_NORDIC_DFU:
		/* handled in common state */
		break;
	}
}

static void state_not_ready_run(void *o)
{
	sm_t *sm = (sm_t *)o;

	switch (sm->event) {
	case SID_EVENT_STATE_READY:
		smf_set_state(SMF_CTX(sm), &sid_states[STATE_SIDEWALK_READY]);
		break;
	case SID_EVENT_SEND_MSG:
		send_msg_pending = true;
	case SID_EVENT_CONNECT:
		sid_error_t e = sid_ble_bcn_connection_request(sm->sid->handle, true);
		if (e) {
			LOG_ERR("conn req err %d", (int)e);
		}
		break;
	case SID_EVENT_STATE_NOT_READY:
		break;
	case SID_EVENT_SIDEWALK:
	case SID_EVENT_STATE_ERROR:
	case SID_EVENT_FACTORY_RESET:
	case SID_EVENT_LINK_SWITCH:
	case SID_EVENT_NORDIC_DFU:
		/* handled in common state */
		break;
	}
}

static void state_ready_entry(void *o)
{
	if (send_msg_pending) {
		send_msg_pending = false;
		sidewalk_event_send(SID_EVENT_SEND_MSG);
	}
}

static void state_ready_run(void *o)
{
	sm_t *sm = (sm_t *)o;
	sid_error_t e = SID_ERROR_NONE;

	switch (sm->event) {
	case SID_EVENT_STATE_NOT_READY:
		smf_set_state(SMF_CTX(sm), &sid_states[STATE_SIDEWALK_NOT_READY]);
		break;
	case SID_EVENT_SEND_MSG:
		e = sid_put_msg(sm->sid->handle, &send_msg_buffer.msg, &send_msg_buffer.desc);
		(void)atomic_clear(&send_msg_buffer_busy);
		if (e) {
			LOG_ERR("sid send err %d", (int)e);
		}
		LOG_INF("sid send (type: %d, id: %u)", (int)send_msg_buffer.desc.type,
			send_msg_buffer.desc.id);
		break;
	case SID_EVENT_STATE_READY:
	case SID_EVENT_CONNECT:
		break;
	case SID_EVENT_SIDEWALK:
	case SID_EVENT_STATE_ERROR:
	case SID_EVENT_FACTORY_RESET:
	case SID_EVENT_LINK_SWITCH:
	case SID_EVENT_NORDIC_DFU:
		/* handled in common state */
		break;
	}
}

static void state_dfu_entry(void *o)
{
	sm_t *sm = (sm_t *)o;

	LOG_INF("Entering into DFU mode");
	int err = -ENOTSUP;
#if defined(CONFIG_SIDEWALK_DFU_SERVICE_BLE)
	err = nordic_dfu_ble_start();
#endif
	if (err) {
		LOG_ERR("dfu start err %d", err);
		smf_set_state(SMF_CTX(sm), &sid_states[STATE_SIDEWALK_INIT]);
		return;
	}
}

static void state_dfu_run(void *o)
{
	sm_t *sm = (sm_t *)o;

	switch (sm->event) {
	case SID_EVENT_NORDIC_DFU:
		int err = -ENOTSUP;
#if defined(CONFIG_SIDEWALK_DFU_SERVICE_BLE)
		err = nordic_dfu_ble_stop();
#endif
		if (err) {
			LOG_ERR("dfu stop err %d", err);
		}

		smf_set_state(SMF_CTX(sm), &sid_states[STATE_SIDEWALK_INIT]);
		break;
	case SID_EVENT_SEND_MSG:
	case SID_EVENT_CONNECT:
	case SID_EVENT_FACTORY_RESET:
	case SID_EVENT_LINK_SWITCH:
		LOG_WRN("Operation not supported in DFU mode");
		break;
	case SID_EVENT_SIDEWALK:
	case SID_EVENT_STATE_READY:
	case SID_EVENT_STATE_NOT_READY:
	case SID_EVENT_STATE_ERROR:
		LOG_INF("Invalid operation, Sidewalk is not running");
		break;
	}
}

static void sid_thread_entry(void *context, void *unused, void *unused2)
{
	ARG_UNUSED(unused);
	ARG_UNUSED(unused2);

	sid_sm.sid = (sidewalk_ctx_t *)context;

	k_msgq_init(&sid_sm.msgq, sid_msgq_buff, sizeof(sidewalk_event_t),
		    CONFIG_SIDEWALK_THREAD_QUEUE_SIZE);
	smf_set_initial(SMF_CTX(&sid_sm), &sid_states[STATE_SIDEWALK_INIT]);

	while (1) {
		int err = k_msgq_get(&sid_sm.msgq, &sid_sm.event, K_FOREVER);
		if (!err) {
			if (smf_run_state(SMF_CTX(&sid_sm))) {
				LOG_ERR("sm termination");
				break;
			}
		} else {
			LOG_ERR("msgq err %d", err);
		}
	}

	LOG_ERR("Sidewalk thread ends. You should never see this message.");
}

void sidewalk_start(sidewalk_ctx_t *context)
{
	(void)k_thread_create(&sid_thread, sid_thread_stack,
			      K_THREAD_STACK_SIZEOF(sid_thread_stack), sid_thread_entry, context,
			      NULL, NULL, CONFIG_SIDEWALK_THREAD_PRIORITY, 0, K_NO_WAIT);
	(void)k_thread_name_set(&sid_thread, "sidewalk");
}

int sidewalk_msg_set(sidewalk_msg_t *msg_in)
{
	atomic_t busy = atomic_set(&send_msg_buffer_busy, true);
	if (busy) {
		return -EBUSY;
	}

	memcpy(&send_msg_buffer, msg_in, sizeof(sidewalk_msg_t));
	return 0;
}

int sidewalk_event_send(sidewalk_event_t event)
{
	return k_msgq_put(&sid_sm.msgq, (void *)&event, K_NO_WAIT);
}
```
